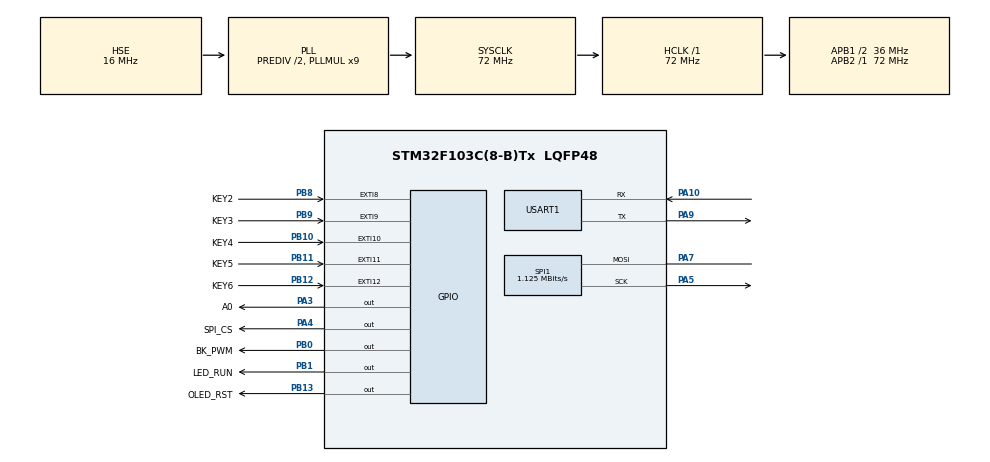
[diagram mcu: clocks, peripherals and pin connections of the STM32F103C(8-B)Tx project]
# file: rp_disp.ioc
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Mcu.Family=STM32F1
Mcu.Name=STM32F103C(8-B)Tx
Mcu.Package=LQFP48
NVIC.EXTI15_10_IRQn=true\:3\:0\:false\:false\:true\:true\:true\:true
NVIC.EXTI9_5_IRQn=true\:2\:0\:false\:false\:true\:true\:true\:true
NVIC.PriorityGroup=NVIC_PRIORITYGROUP_4
NVIC.TIM3_IRQn=true\:4\:0\:false\:false\:true\:true\:true\:true
NVIC.USART1_IRQn=true\:1\:0\:false\:false\:true\:true\:true\:true
PA10.Mode=Asynchronous
PA10.Signal=USART1_RX
PA13.Mode=Serial_Wire
PA13.Signal=SYS_JTMS-SWDIO
PA14.Mode=Serial_Wire
PA14.Signal=SYS_JTCK-SWCLK
PA3.GPIO_Label=A0
PA3.GPIO_Speed=GPIO_SPEED_FREQ_MEDIUM
PA3.PinState=GPIO_PIN_SET
PA3.Signal=GPIO_Output
PA4.GPIO_Label=SPI_CS
PA4.GPIO_PuPd=GPIO_PULLUP
PA4.GPIO_Speed=GPIO_SPEED_FREQ_HIGH
PA4.PinState=GPIO_PIN_SET
PA4.Signal=GPIO_Output
PA5.Mode=Simplex_Bidirectional_Master
PA5.Signal=SPI1_SCK
PA7.Mode=Simplex_Bidirectional_Master
PA7.Signal=SPI1_MOSI
PA9.Mode=Asynchronous
PA9.Signal=USART1_TX
PB0.GPIO_Label=BK_PWM
PB0.GPIO_PuPd=GPIO_PULLDOWN
PB0.GPIO_Speed=GPIO_SPEED_FREQ_MEDIUM
PB0.PinState=GPIO_PIN_SET
PB0.Signal=GPIO_Output
PB1.GPIO_Label=LED_RUN
PB1.GPIO_PuPd=GPIO_PULLDOWN
PB1.GPIO_Speed=GPIO_SPEED_FREQ_MEDIUM
PB1.PinState=GPIO_PIN_SET
PB1.Signal=GPIO_Output
PB10.GPIO_Label=KEY4
PB10.GPIO_ModeDefaultEXTI=GPIO_MODE_IT_RISING_FALLING
PB10.Signal=GPXTI10
PB11.GPIO_Label=KEY5
PB11.GPIO_ModeDefaultEXTI=GPIO_MODE_IT_RISING_FALLING
PB11.Signal=GPXTI11
PB12.GPIO_Label=KEY6
PB12.GPIO_ModeDefaultEXTI=GPIO_MODE_IT_RISING_FALLING
PB12.Signal=GPXTI12
PB13.GPIO_Label=OLED_RST
PB13.GPIO_Speed=GPIO_SPEED_FREQ_MEDIUM
PB13.PinState=GPIO_PIN_SET
PB13.Signal=GPIO_Output
PB8.GPIO_Label=KEY2
PB8.GPIO_ModeDefaultEXTI=GPIO_MODE_IT_RISING_FALLING
PB8.Signal=GPXTI8
PB9.GPIO_Label=KEY3
PB9.GPIO_ModeDefaultEXTI=GPIO_MODE_IT_RISING_FALLING
PB9.Signal=GPXTI9
PD0-OSC_IN.Mode=HSE-External-Oscillator
PD0-OSC_IN.Signal=RCC_OSC_IN
PD1-OSC_OUT.Mode=HSE-External-Oscillator
PD1-OSC_OUT.Signal=RCC_OSC_OUT
ProjectManager.HeapSize=0x200
ProjectManager.StackSize=0x800
ProjectManager.TargetToolchain=MDK-ARM V5.32
RCC.AHBFreq_Value=72000000
RCC.APB1CLKDivider=RCC_HCLK_DIV2
RCC.APB1Freq_Value=36000000
RCC.APB1TimFreq_Value=72000000
RCC.APB2Freq_Value=72000000
RCC.APB2TimFreq_Value=72000000
RCC.HCLKFreq_Value=72000000
RCC.HSEDivPLL=RCC_HSE_PREDIV_DIV2
RCC.HSE_VALUE=16000000
RCC.PLLMUL=RCC_PLL_MUL9
RCC.PLLSourceVirtual=RCC_PLLSOURCE_HSE
RCC.SYSCLKFreq_VALUE=72000000
RCC.SYSCLKSource=RCC_SYSCLKSOURCE_PLLCLK
RCC.USBFreq_Value=72000000
SPI1.BaudRatePrescaler=SPI_BAUDRATEPRESCALER_64
SPI1.CLKPhase=SPI_PHASE_2EDGE
SPI1.CLKPolarity=SPI_POLARITY_HIGH
SPI1.CalculateBaudRate=1.125 MBits/s
SPI1.Direction=SPI_DIRECTION_1LINE
SPI1.Mode=SPI_MODE_MASTER
SPI1.VirtualType=VM_MASTER
TIM3.AutoReloadPreload=TIM_AUTORELOAD_PRELOAD_ENABLE
TIM3.Period=5000-1
TIM3.Prescaler=7200-1
USART1.VirtualMode=VM_ASYNC
VP_TIM3_VS_ClockSourceINT.Mode=Internal
board=custom

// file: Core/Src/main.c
/* USER CODE BEGIN Header */
/**
 ******************************************************************************
 * @file           : main.c
 * @brief          : Main program body
 ******************************************************************************
 * @attention
 *
 * Copyright (c) 2026 STMicroelectronics.
 * All rights reserved.
 *
 * This software is licensed under terms that can be found in the LICENSE file
 * in the root directory of this software component.
 * If no LICENSE file comes with this software, it is provided AS-IS.
 *
 ******************************************************************************
 */
/* USER CODE END Header */
#include "main.h"
#include "spi.h"
#include "tim.h"
#include "usart.h"
#include "gpio.h"

/* USER CODE BEGIN Includes */
#include "oled.h"
#include "oledfont.h"
#include "oled_ui.h"
#include "bsp_key.h"
#include "bsp_usart.h"
#include "app_disp.h"
/* USER CODE END Includes */

void SystemClock_Config(void);

int main(void)
{

  /* USER CODE BEGIN 1 */
  uint8_t i;
  uint8_t contrast = 40;
  /* USER CODE END 1 */

  /* MCU Configuration--------------------------------------------------------*/

  /* Reset of all peripherals, Initializes the Flash interface and the Systick. */
  HAL_Init();

  /* Configure the system clock */
  SystemClock_Config();

  /* Initialize all configured peripherals */
  MX_GPIO_Init();
  MX_SPI1_Init();
  MX_USART1_UART_Init();
  MX_TIM3_Init();
  /* USER CODE BEGIN 2 */
  UI_Init();
  BSP_USART_Init();   /* 初始化 BSP 串口层（回调表） */
  Disp_Init();        /* 注册 USART1 协议接收回调并启动接收 */

  HAL_TIM_Base_Start_IT(&htim3);

  /* USER CODE END 2 */

  /* Infinite loop */
  while (1)
  {

    /* USER CODE BEGIN 3 */
     UI_Task();
     Key_Task();   /* 非阻塞消抖：主循环完成按键确认 */

    /* 按键检测与处理 */
    if (Key_GetPressed(0)) // KEY3 - 返回键
    {
      UI_KeyK3_Back();
      // LCD_ShowBmp(bmp1);
      // delay_ms(1000);
    }
    if (Key_GetPressed(1)) // KEY4 - 上键/增加
    {
      UI_KeyK4_Up();
      // LCD_ShowBmp(bmp3);
      // delay_ms(1000);
    }
    if (Key_GetPressed(2)) // KEY5 - 循环键
    {
      UI_KeyK5_Loop();
      // for (i = (contrast - 5); i < (contrast + 5); i++)
      // {
      //   LCD_WR_REG(0x81);
      //   LCD_WR_REG(0x3F & i);
      //   LCD_ShowNum(2, 0, i);
      //   delay_ms(1000);
      // }
      // LCD_WR_REG(0x81);
      // LCD_WR_REG(contrast);
      // LCD_ShowNum(2, 0, contrast);
      // delay_ms(1000);
    }
    if (Key_GetPressed(3)) // KEY6 - 确认键
    {
      UI_KeyK6_Enter();
      // LCD_ShowStr(0, 0, "CA12864I2Program");
      // delay_ms(1000);
      // LCD_ShowStr(0, 2, "SunSon ELEC-TECH");
      // delay_ms(1000);
      // LCD_ShowStr(0, 4, "TEL:755-29970110");
      // delay_ms(1000);
      // LCD_ShowStr(0, 6, "By LJ 2009.04.08");
      // delay_ms(1000);
    }

    /* 主循环节流：用 HAL 自带的 HAL_Delay（基于 SysTick 的 uwTick，见 stm32f1xx_it.c
     * SysTick_Handler → HAL_IncTick）。
     * ★不要用自定义的 delay_ms：原 Drivers/SYSTEM/delay 的 delay_init() 从未被调用，
     *   g_fac_us 恒为 0，导致 delay_ms() 实际是空操作（约 14ns），
     *   并且它还用强符号覆盖了 HAL_Delay，将来任何 HAL_Delay 调用都会空转。
     *   该模块已于 2026-09-20 删除。
     * ⚠ HAL_Delay 依赖 SysTick 中断（本工程 TICK_INT_PRIORITY=15，最低优先级），
     *   因此不能在优先级数字 <15 的中断服务程序里调用（会死等）。本处是主循环，安全。*/
    HAL_Delay(10);
  }
  /* USER CODE END 3 */
}

void SystemClock_Config(void)
{
  RCC_OscInitTypeDef RCC_OscInitStruct = {0};
  RCC_ClkInitTypeDef RCC_ClkInitStruct = {0};

  /** Initializes the RCC Oscillators according to the specified parameters
  * in the RCC_OscInitTypeDef structure.
  */
  RCC_OscInitStruct.OscillatorType = RCC_OSCILLATORTYPE_HSE;
  RCC_OscInitStruct.HSEState = RCC_HSE_ON;
  RCC_OscInitStruct.HSEPredivValue = RCC_HSE_PREDIV_DIV2;
  RCC_OscInitStruct.HSIState = RCC_HSI_ON;
  RCC_OscInitStruct.PLL.PLLState = RCC_PLL_ON;
  RCC_OscInitStruct.PLL.PLLSource = RCC_PLLSOURCE_HSE;
  RCC_OscInitStruct.PLL.PLLMUL = RCC_PLL_MUL9;
  if (HAL_RCC_OscConfig(&RCC_OscInitStruct) != HAL_OK)
  {
    Error_Handler();
  }

  /** Initializes the CPU, AHB and APB buses clocks
  */
  RCC_ClkInitStruct.ClockType = RCC_CLOCKTYPE_HCLK|RCC_CLOCKTYPE_SYSCLK
                              |RCC_CLOCKTYPE_PCLK1|RCC_CLOCKTYPE_PCLK2;
  RCC_ClkInitStruct.SYSCLKSource = RCC_SYSCLKSOURCE_PLLCLK;
  RCC_ClkInitStruct.AHBCLKDivider = RCC_SYSCLK_DIV1;
  RCC_ClkInitStruct.APB1CLKDivider = RCC_HCLK_DIV2;
  RCC_ClkInitStruct.APB2CLKDivider = RCC_HCLK_DIV1;

  if (HAL_RCC_ClockConfig(&RCC_ClkInitStruct, FLASH_LATENCY_2) != HAL_OK)
  {
    Error_Handler();
  }
}

/* USER CODE BEGIN 4 */

/**
  * @brief  TIM3 更新中断（每 500ms 一次）回调
  * @note   由 HAL_TIM_IRQHandler(&htim3) → 本函数（覆盖 HAL 的 __weak 版本）。
  *
  *   定时周期核算（与 tim.c 的常量必须一致，改一处要同步另一处）：
  *     TIM3 挂在 APB1；APB1 预分频=2 ⇒ 时钟为 HCLK 的 2 倍 = 72MHz
  *     （STM32F1 的倍频规则：APBx 预分频 >1 时定时器时钟 = PCLKx × 2）
  *     Prescaler = 7200-1 ⇒ 计数频率 = 72MHz / 7200 = 10kHz
  *     Period    = 5000-1 ⇒ 溢出周期 = 5000 / 10kHz = 0.5s = 500ms ✓
  *
  *   LED 行为：PB1(LED_RUN) 每 500ms 翻转一次 ⇒ 亮/灭各 500ms，
  *     完整闪烁周期 1s（1Hz 心跳灯）。
  *
  *   ★中断优先级：TIM3 在 tim.c 里设为 4（比 USART1=1 低，不会抢串口）。
  *     本回调只做一次 GPIO 翻转，耗时纳秒级。若日后要在此回调里加耗时操作
  *     （打印、SPI 写屏等），请先确认它仍不会拖慢 USART1 接收导致丢帧。
  */
void HAL_TIM_PeriodElapsedCallback(TIM_HandleTypeDef *htim)
{
  if (htim->Instance == TIM3)
  {
    HAL_GPIO_TogglePin(LED_RUN_GPIO_Port, LED_RUN_Pin);
  }
}

/* USER CODE END 4 */

void Error_Handler(void)
{
  __disable_irq();
  while (1)
  {
  }
}
